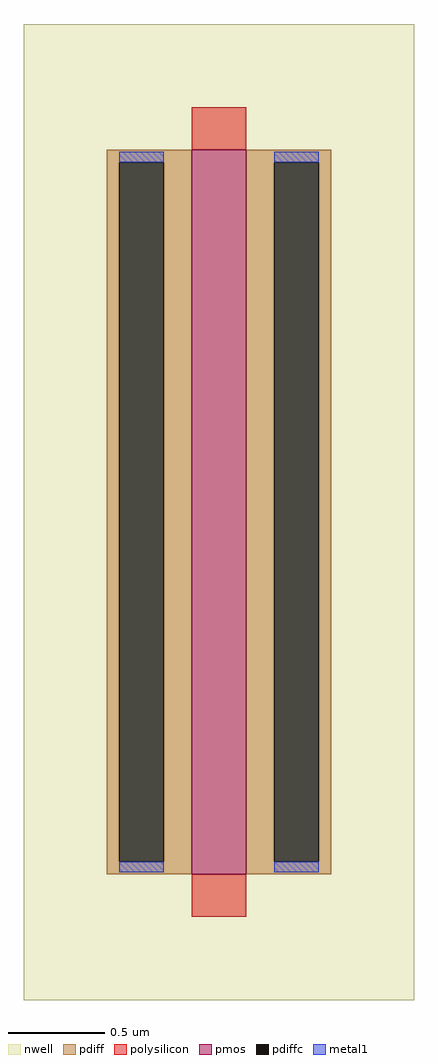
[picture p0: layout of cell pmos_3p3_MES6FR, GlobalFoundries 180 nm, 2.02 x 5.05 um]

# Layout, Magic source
magic
tech gf180mcuC
magscale 1 10
<< nwell >>
rect -202 -505 202 505
<< pmos >>
rect -28 -375 28 375
<< pdiff >>
rect -116 362 -28 375
rect -116 -362 -103 362
rect -57 -362 -28 362
rect -116 -375 -28 -362
rect 28 362 116 375
rect 28 -362 57 362
rect 103 -362 116 362
rect 28 -375 116 -362
<< pdiffc >>
rect -103 -362 -57 362
rect 57 -362 103 362
<< polysilicon >>
rect -28 375 28 419
rect -28 -419 28 -375
<< metal1 >>
rect -103 362 -57 373
rect -103 -373 -57 -362
rect 57 362 103 373
rect 57 -373 103 -362
<< properties >>
string gencell pmos_3p3
string library gf180mcu
string parameters w 3.75 l 0.280 m 1 nf 1 diffcov 100 polycov 100 guard 0 glc 0 grc 0 gtc 0 gbc 0 tbcov 100 rlcov 100 topc 0 botc 0 poverlap 0 doverlap 1 lmin 0.28 wmin 0.22 full_metal 0 compatible {pmos_3p3 pmos_6p0}
<< end >>
